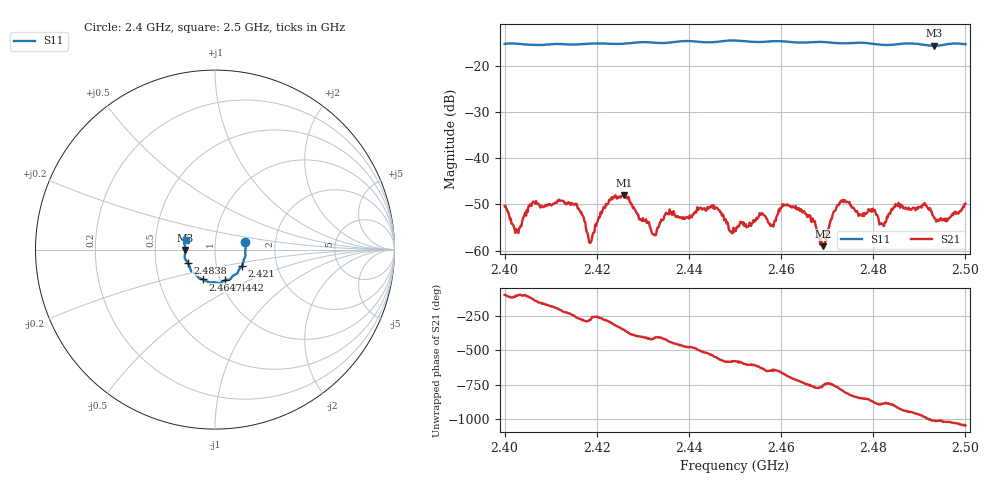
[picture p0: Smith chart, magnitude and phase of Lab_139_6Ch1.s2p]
# Hz S RI R 50
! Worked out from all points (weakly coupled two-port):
!   601 points, 2.4 GHz to 2.5 GHz, reference 50 ohm
!   highest |S21| = -48.02 dB at 2.4258 GHz (marker M1); lowest = -59.1 dB at 2.4692 GHz (marker M2)
!   lowest |S11| = -15.6 dB at 2.4932 GHz (marker M3), VSWR 1.40, Z = 35.8 - j0.115 ohm
!   |S11| at or under -10 dB: start of sweep to end of sweep
!   S12 and S22 are empty: the file has one direction only
!   S11 on the Smith chart (normalised r, x): 2.4 GHz: 1.40, +0.12; 2.421 GHz: 1.33, -0.24; 2.4442 GHz: 1.05, -0.37; 2.4647 GHz: 0.83, -0.29; 2.4838 GHz: 0.73, -0.11; 2.5 GHz: 0.72, +0.08
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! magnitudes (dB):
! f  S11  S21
! 2.4 GHz  -15.2  -50.4
! 2.4027 GHz  -15.2  -55.8
! 2.4065 GHz  -15.4  -49.6
! 2.4167 GHz  -15.3  -51.7
! 2.4187 GHz  -15.2  -58.2
! 2.421 GHz  -15.1  -52.1
! 2.4258 GHz  -15.2  -48.0
! 2.4333 GHz  -15.0  -55.0
! 2.4442 GHz  -14.9  -50.8
! 2.45 GHz  -14.5  -55.3
! 2.4558 GHz  -14.8  -51.9
! 2.458 GHz  -14.7  -54.7
! 2.4608 GHz  -14.7  -50.2
! 2.4647 GHz  -14.9  -51.8
! 2.4667 GHz  -14.8  -53.8
! 2.4692 GHz  -14.8  -59.1
! 2.4733 GHz  -15.1  -49.1
! 2.4818 GHz  -15.4  -54.2
! 2.4833 GHz  -15.5  -52.1
! 2.4838 GHz  -15.4  -51.4
! 2.4932 GHz  -15.6  -52.7
! 2.5 GHz  -15.3  -49.8
